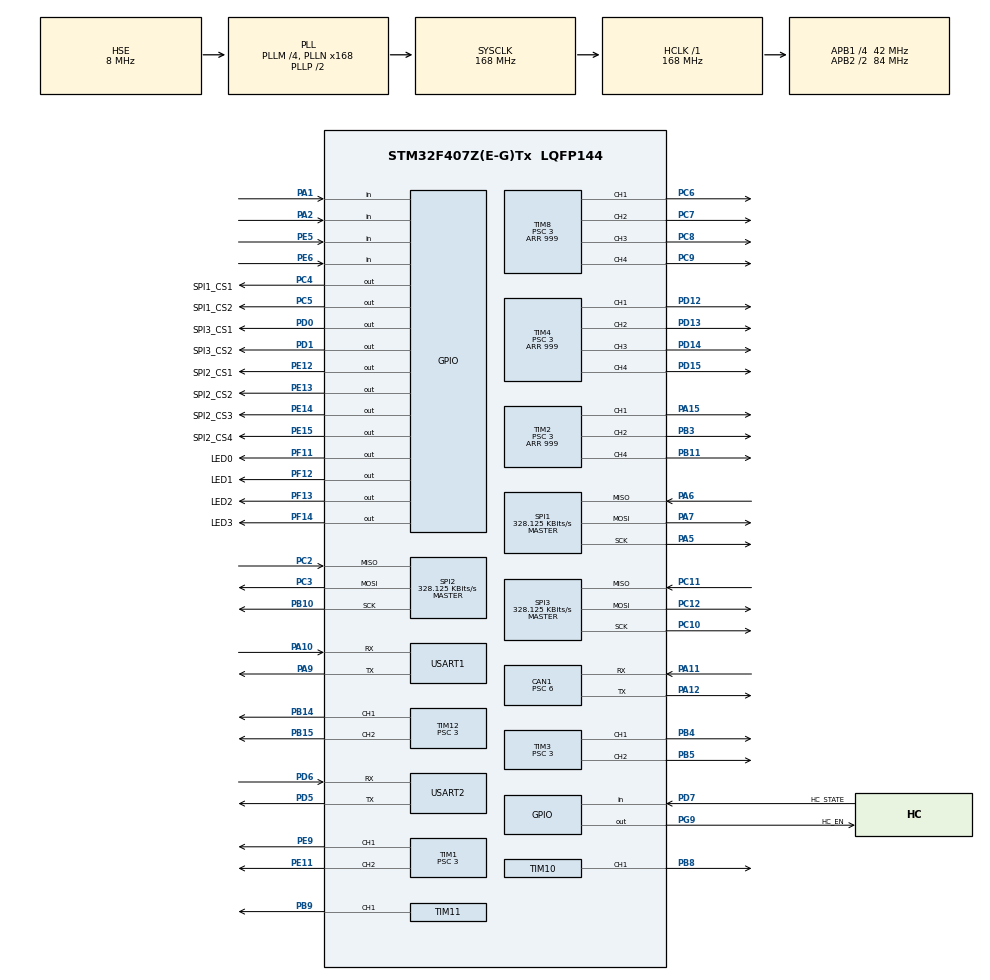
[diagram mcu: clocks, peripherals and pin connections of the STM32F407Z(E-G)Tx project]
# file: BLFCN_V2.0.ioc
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CAN1.BS1=CAN_BS1_5TQ
CAN1.BS2=CAN_BS2_1TQ
CAN1.CalculateBaudRate=1000000
CAN1.CalculateTimeBit=1000
CAN1.CalculateTimeQuantum=142.85714285714286
CAN1.Prescaler=6
Dma.Request0=USART1_RX
Dma.Request1=USART1_TX
Dma.Request2=USART2_RX
Dma.Request3=USART2_TX
Dma.USART1_RX.0.Direction=DMA_PERIPH_TO_MEMORY
Dma.USART1_RX.0.FIFOMode=DMA_FIFOMODE_DISABLE
Dma.USART1_RX.0.Instance=DMA2_Stream2
Dma.USART1_RX.0.MemDataAlignment=DMA_MDATAALIGN_BYTE
Dma.USART1_RX.0.MemInc=DMA_MINC_ENABLE
Dma.USART1_RX.0.Mode=DMA_NORMAL
Dma.USART1_RX.0.PeriphDataAlignment=DMA_PDATAALIGN_BYTE
Dma.USART1_RX.0.PeriphInc=DMA_PINC_DISABLE
Dma.USART1_RX.0.Priority=DMA_PRIORITY_LOW
Dma.USART1_TX.1.Direction=DMA_MEMORY_TO_PERIPH
Dma.USART1_TX.1.FIFOMode=DMA_FIFOMODE_DISABLE
Dma.USART1_TX.1.Instance=DMA2_Stream7
Dma.USART1_TX.1.MemDataAlignment=DMA_MDATAALIGN_BYTE
Dma.USART1_TX.1.MemInc=DMA_MINC_ENABLE
Dma.USART1_TX.1.Mode=DMA_NORMAL
Dma.USART1_TX.1.PeriphDataAlignment=DMA_PDATAALIGN_BYTE
Dma.USART1_TX.1.PeriphInc=DMA_PINC_DISABLE
Dma.USART1_TX.1.Priority=DMA_PRIORITY_LOW
Dma.USART2_RX.2.Direction=DMA_PERIPH_TO_MEMORY
Dma.USART2_RX.2.FIFOMode=DMA_FIFOMODE_DISABLE
Dma.USART2_RX.2.Instance=DMA1_Stream5
Dma.USART2_RX.2.MemDataAlignment=DMA_MDATAALIGN_BYTE
Dma.USART2_RX.2.MemInc=DMA_MINC_ENABLE
Dma.USART2_RX.2.Mode=DMA_CIRCULAR
Dma.USART2_RX.2.PeriphDataAlignment=DMA_PDATAALIGN_BYTE
Dma.USART2_RX.2.PeriphInc=DMA_PINC_DISABLE
Dma.USART2_RX.2.Priority=DMA_PRIORITY_LOW
Dma.USART2_TX.3.Direction=DMA_MEMORY_TO_PERIPH
Dma.USART2_TX.3.FIFOMode=DMA_FIFOMODE_DISABLE
Dma.USART2_TX.3.Instance=DMA1_Stream6
Dma.USART2_TX.3.MemDataAlignment=DMA_MDATAALIGN_BYTE
Dma.USART2_TX.3.MemInc=DMA_MINC_ENABLE
Dma.USART2_TX.3.Mode=DMA_CIRCULAR
Dma.USART2_TX.3.PeriphDataAlignment=DMA_PDATAALIGN_BYTE
Dma.USART2_TX.3.PeriphInc=DMA_PINC_DISABLE
Dma.USART2_TX.3.Priority=DMA_PRIORITY_LOW
FREERTOS.Tasks01=defaultTask,24,128,StartDefaultTask,Default,NULL,Dynamic,NULL,NULL;PID,8,1280,StartTask_pid,Default,NULL,Dynamic,NULL,NULL;read,8,1280,StartTask_read,Default,NULL,Dynamic,NULL,NULL;send,8,128,StartTask_send,Default,NULL,Dynamic,NULL,NULL
Mcu.Family=STM32F4
Mcu.Name=STM32F407Z(E-G)Tx
Mcu.Package=LQFP144
NVIC.CAN1_RX0_IRQn=true\:5\:0\:false\:false\:true\:true\:true\:true\:true
NVIC.CAN1_RX1_IRQn=true\:5\:0\:false\:false\:true\:true\:true\:true\:true
NVIC.CAN1_TX_IRQn=true\:5\:0\:false\:false\:true\:true\:true\:true\:true
NVIC.DMA1_Stream5_IRQn=true\:5\:0\:false\:false\:true\:true\:false\:true\:true
NVIC.DMA1_Stream6_IRQn=true\:5\:0\:false\:false\:true\:true\:false\:true\:true
NVIC.DMA2_Stream2_IRQn=true\:5\:0\:false\:false\:true\:true\:false\:true\:true
NVIC.DMA2_Stream7_IRQn=true\:5\:0\:false\:false\:true\:true\:false\:true\:true
NVIC.PriorityGroup=NVIC_PRIORITYGROUP_4
NVIC.TIM7_IRQn=true\:15\:0\:false\:false\:true\:false\:false\:true\:true
NVIC.TimeBase=TIM7_IRQn
NVIC.TimeBaseIP=TIM7
NVIC.USART1_IRQn=true\:5\:0\:true\:false\:true\:true\:true\:true\:true
NVIC.USART2_IRQn=true\:5\:0\:true\:false\:true\:true\:true\:true\:true
PA1.GPIO_PuPd=GPIO_PULLDOWN
PA1.Signal=GPIO_Input
PA10.Mode=Asynchronous
PA10.Signal=USART1_RX
PA11.Mode=CAN_Activate
PA11.Signal=CAN1_RX
PA12.Mode=CAN_Activate
PA12.Signal=CAN1_TX
PA13.Mode=Serial_Wire
PA13.Signal=SYS_JTMS-SWDIO
PA14.Mode=Serial_Wire
PA14.Signal=SYS_JTCK-SWCLK
PA15.Signal=S_TIM2_CH1_ETR
PA2.GPIO_PuPd=GPIO_PULLDOWN
PA2.Signal=GPIO_Input
PA5.Mode=Full_Duplex_Master
PA5.Signal=SPI1_SCK
PA6.Mode=Full_Duplex_Master
PA6.Signal=SPI1_MISO
PA7.Mode=Full_Duplex_Master
PA7.Signal=SPI1_MOSI
PA9.Mode=Asynchronous
PA9.Signal=USART1_TX
PB10.Mode=Full_Duplex_Master
PB10.Signal=SPI2_SCK
PB11.Signal=S_TIM2_CH4
PB14.Signal=S_TIM12_CH1
PB15.Signal=S_TIM12_CH2
PB3.Signal=S_TIM2_CH2
PB4.Signal=S_TIM3_CH1
PB5.Signal=S_TIM3_CH2
PB8.Signal=S_TIM10_CH1
PB9.Signal=S_TIM11_CH1
PC10.Mode=Full_Duplex_Master
PC10.Signal=SPI3_SCK
PC11.Mode=Full_Duplex_Master
PC11.Signal=SPI3_MISO
PC12.Mode=Full_Duplex_Master
PC12.Signal=SPI3_MOSI
PC2.Mode=Full_Duplex_Master
PC2.Signal=SPI2_MISO
PC3.Mode=Full_Duplex_Master
PC3.Signal=SPI2_MOSI
PC4.GPIO_Label=SPI1_CS1
PC4.Signal=GPIO_Output
PC5.GPIO_Label=SPI1_CS2
PC5.Signal=GPIO_Output
PC6.Signal=S_TIM8_CH1
PC7.Signal=S_TIM8_CH2
PC8.Signal=S_TIM8_CH3
PC9.Signal=S_TIM8_CH4
PD0.GPIO_Label=SPI3_CS1
PD0.Signal=GPIO_Output
PD1.GPIO_Label=SPI3_CS2
PD1.Signal=GPIO_Output
PD12.Signal=S_TIM4_CH1
PD13.Signal=S_TIM4_CH2
PD14.Signal=S_TIM4_CH3
PD15.Signal=S_TIM4_CH4
PD5.Mode=Asynchronous
PD5.Signal=USART2_TX
PD6.Mode=Asynchronous
PD6.Signal=USART2_RX
PD7.GPIO_Label=HC_STATE
PD7.Signal=GPIO_Input
PE11.Signal=S_TIM1_CH2
PE12.GPIO_Label=SPI2_CS1
PE12.Signal=GPIO_Output
PE13.GPIO_Label=SPI2_CS2
PE13.Signal=GPIO_Output
PE14.GPIO_Label=SPI2_CS3
PE14.Signal=GPIO_Output
PE15.GPIO_Label=SPI2_CS4
PE15.Signal=GPIO_Output
PE5.GPIO_PuPd=GPIO_PULLDOWN
PE5.Signal=GPIO_Input
PE6.GPIO_PuPd=GPIO_PULLDOWN
PE6.Signal=GPIO_Input
PE9.Signal=S_TIM1_CH1
PF11.GPIO_Label=LED0
PF11.Signal=GPIO_Output
PF12.GPIO_Label=LED1
PF12.Signal=GPIO_Output
PF13.GPIO_Label=LED2
PF13.Signal=GPIO_Output
PF14.GPIO_Label=LED3
PF14.Signal=GPIO_Output
PG9.GPIO_Label=HC_EN
PG9.Signal=GPIO_Output
PH0-OSC_IN.Mode=HSE-External-Oscillator
PH0-OSC_IN.Signal=RCC_OSC_IN
PH1-OSC_OUT.Mode=HSE-External-Oscillator
PH1-OSC_OUT.Signal=RCC_OSC_OUT
ProjectManager.HeapSize=0x400
ProjectManager.StackSize=0x1000
ProjectManager.TargetToolchain=MDK-ARM V5
RCC.48MHZClocksFreq_Value=84000000
RCC.AHBFreq_Value=168000000
RCC.APB1CLKDivider=RCC_HCLK_DIV4
RCC.APB1Freq_Value=42000000
RCC.APB1TimFreq_Value=84000000
RCC.APB2CLKDivider=RCC_HCLK_DIV2
RCC.APB2Freq_Value=84000000
RCC.APB2TimFreq_Value=168000000
RCC.CortexFreq_Value=168000000
RCC.HCLKFreq_Value=168000000
RCC.HSE_VALUE=8000000
RCC.HSI_VALUE=16000000
RCC.LSE_VALUE=32768
RCC.PLLM=4
RCC.PLLN=168
RCC.PLLSourceVirtual=RCC_PLLSOURCE_HSE
RCC.SYSCLKFreq_VALUE=168000000
RCC.SYSCLKSource=RCC_SYSCLKSOURCE_PLLCLK
RCC.VCOOutputFreq_Value=336000000
SH.S_TIM10_CH1.0=TIM10_CH1,PWM Generation1 CH1
SH.S_TIM11_CH1.0=TIM11_CH1,PWM Generation1 CH1
SH.S_TIM12_CH1.0=TIM12_CH1,PWM Generation1 CH1
SH.S_TIM12_CH2.0=TIM12_CH2,PWM Generation2 CH2
SH.S_TIM1_CH1.0=TIM1_CH1,PWM Generation1 CH1
SH.S_TIM1_CH2.0=TIM1_CH2,PWM Generation2 CH2
SH.S_TIM2_CH1_ETR.0=TIM2_CH1,PWM Generation1 CH1
SH.S_TIM2_CH2.0=TIM2_CH2,PWM Generation2 CH2
SH.S_TIM2_CH4.0=TIM2_CH4,PWM Generation4 CH4
SH.S_TIM3_CH1.0=TIM3_CH1,PWM Generation1 CH1
SH.S_TIM3_CH2.0=TIM3_CH2,PWM Generation2 CH2
SH.S_TIM4_CH1.0=TIM4_CH1,PWM Generation1 CH1
SH.S_TIM4_CH2.0=TIM4_CH2,PWM Generation2 CH2
SH.S_TIM4_CH3.0=TIM4_CH3,PWM Generation3 CH3
SH.S_TIM4_CH4.0=TIM4_CH4,PWM Generation4 CH4
SH.S_TIM8_CH1.0=TIM8_CH1,PWM Generation1 CH1
SH.S_TIM8_CH2.0=TIM8_CH2,PWM Generation2 CH2
SH.S_TIM8_CH3.0=TIM8_CH3,PWM Generation3 CH3
SH.S_TIM8_CH4.0=TIM8_CH4,PWM Generation4 CH4
SPI1.BaudRatePrescaler=SPI_BAUDRATEPRESCALER_256
SPI1.CLKPhase=SPI_PHASE_2EDGE
SPI1.CalculateBaudRate=328.125 KBits/s
SPI1.DataSize=SPI_DATASIZE_16BIT
SPI1.Direction=SPI_DIRECTION_2LINES
SPI1.Mode=SPI_MODE_MASTER
SPI1.VirtualType=VM_MASTER
SPI2.BaudRatePrescaler=SPI_BAUDRATEPRESCALER_128
SPI2.CLKPhase=SPI_PHASE_2EDGE
SPI2.CalculateBaudRate=328.125 KBits/s
SPI2.DataSize=SPI_DATASIZE_16BIT
SPI2.Direction=SPI_DIRECTION_2LINES
SPI2.Mode=SPI_MODE_MASTER
SPI2.VirtualType=VM_MASTER
SPI3.BaudRatePrescaler=SPI_BAUDRATEPRESCALER_128
SPI3.CLKPhase=SPI_PHASE_2EDGE
SPI3.CalculateBaudRate=328.125 KBits/s
SPI3.DataSize=SPI_DATASIZE_16BIT
SPI3.Direction=SPI_DIRECTION_2LINES
SPI3.Mode=SPI_MODE_MASTER
SPI3.VirtualType=VM_MASTER
TIM1.Channel-PWM\ Generation1\ CH1=TIM_CHANNEL_1
TIM1.Channel-PWM\ Generation2\ CH2=TIM_CHANNEL_2
TIM1.Period=999
TIM1.Prescaler=3
TIM10.Channel=TIM_CHANNEL_1
TIM10.Period=999
TIM10.Prescaler=3
TIM11.Channel=TIM_CHANNEL_1
TIM11.Period=999
TIM11.Prescaler=3
TIM12.Channel-PWM\ Generation1\ CH1=TIM_CHANNEL_1
TIM12.Channel-PWM\ Generation2\ CH2=TIM_CHANNEL_2
TIM12.Period=999
TIM12.Prescaler=3
TIM2.Channel-PWM\ Generation1\ CH1=TIM_CHANNEL_1
TIM2.Channel-PWM\ Generation2\ CH2=TIM_CHANNEL_2
TIM2.Channel-PWM\ Generation3\ CH3=TIM_CHANNEL_3
TIM2.Channel-PWM\ Generation4\ CH4=TIM_CHANNEL_4
TIM2.Period=999
TIM2.Prescaler=3
TIM3.Channel-PWM\ Generation1\ CH1=TIM_CHANNEL_1
TIM3.Channel-PWM\ Generation2\ CH2=TIM_CHANNEL_2
TIM3.Period=999
TIM3.Prescaler=3
TIM4.Channel-PWM\ Generation1\ CH1=TIM_CHANNEL_1
TIM4.Channel-PWM\ Generation2\ CH2=TIM_CHANNEL_2
TIM4.Channel-PWM\ Generation3\ CH3=TIM_CHANNEL_3
TIM4.Channel-PWM\ Generation4\ CH4=TIM_CHANNEL_4
TIM4.Period=999
TIM4.Prescaler=3
TIM8.Channel-PWM\ Generation1\ CH1=TIM_CHANNEL_1
TIM8.Channel-PWM\ Generation2\ CH2=TIM_CHANNEL_2
TIM8.Channel-PWM\ Generation3\ CH3=TIM_CHANNEL_3
TIM8.Channel-PWM\ Generation4\ CH4=TIM_CHANNEL_4
TIM8.Period=999
TIM8.Prescaler=3
TIM9.Period=999
TIM9.Prescaler=3
USART1.VirtualMode=VM_ASYNC
USART2.VirtualMode=VM_ASYNC
VP_FREERTOS_VS_CMSIS_V2.Mode=CMSIS_V2
VP_SYS_VS_tim7.Mode=TIM7
VP_TIM10_VS_ClockSourceINT.Mode=Enable_Timer
VP_TIM11_VS_ClockSourceINT.Mode=Enable_Timer
VP_TIM12_VS_ClockSourceINT.Mode=Internal
VP_TIM1_VS_ClockSourceINT.Mode=Internal
VP_TIM2_VS_ClockSourceINT.Mode=Internal
VP_TIM3_VS_ClockSourceINT.Mode=Internal
VP_TIM4_VS_ClockSourceINT.Mode=Internal
VP_TIM8_VS_ClockSourceINT.Mode=Internal
VP_TIM9_VS_ClockSourceINT.Mode=Internal
board=custom

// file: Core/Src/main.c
/* USER CODE BEGIN Header */
/**
  ******************************************************************************
  * @file           : main.c
  * @brief          : Main program body
  ******************************************************************************
  * @attention
  *
  * <h2><center>&copy; Copyright (c) 2023 STMicroelectronics.
  * All rights reserved.</center></h2>
  *
  * This software component is licensed by ST under BSD 3-Clause license,
  * the "License"; You may not use this file except in compliance with the
  * License. You may obtain a copy of the License at:
  *                        opensource.org/licenses/BSD-3-Clause
  *
  ******************************************************************************
  */
/* USER CODE END Header */
#include "main.h"
#include "cmsis_os.h"
#include "can.h"
#include "dma.h"
#include "spi.h"
#include "tim.h"
#include "usart.h"
#include "gpio.h"

/* USER CODE BEGIN Includes */
#include "protocol.h"
#include "spi.h"
#include "hjcMotionControlLib.h"
/* USER CODE END Includes */

/* USER CODE BEGIN PV */
uint16_t pressure[48];
/* USER CODE END PV */

void SystemClock_Config(void);
void MX_FREERTOS_Init(void);
/* USER CODE BEGIN PFP */
#include "stm32f4xx_it.h"
#include "stdio.h"
/* USER CODE END PFP */

/* USER CODE BEGIN 0 */
#define UART_BUF_LENTH 8
#define PI 3.141592f
//uint8_t UART_RCV_DATA;
static uint8_t rcvstate = 0x00;
static uint32_t tempdata = 0;

int fputc(int ch, FILE *f)
{
    uint8_t temp[1]={ch};
    HAL_UART_Transmit(&huart1, temp, 1, HAL_MAX_DELAY);
    return ch;
}
extern ctrl_channel ctrl_group[24];
/* USER CODE END 0 */

int main(void)
{

  /* MCU Configuration--------------------------------------------------------*/

  /* Reset of all peripherals, Initializes the Flash interface and the Systick. */
  HAL_Init();

  /* Configure the system clock */
  SystemClock_Config();

  /* Initialize all configured peripherals */
  MX_GPIO_Init();
  MX_DMA_Init();
  MX_CAN1_Init();
  MX_TIM1_Init();
  MX_TIM2_Init();
  MX_TIM3_Init();
  MX_TIM4_Init();
  MX_TIM8_Init();
  MX_TIM9_Init();
  MX_TIM10_Init();
  MX_TIM11_Init();
  MX_TIM12_Init();
  MX_USART1_UART_Init();
  MX_USART2_UART_Init();
  MX_SPI3_Init();
  MX_SPI2_Init();
  MX_SPI1_Init();
  /* USER CODE BEGIN 2 */
	//PWM输出启动
	HAL_TIM_Base_Start(&htim1);
	HAL_TIM_PWM_Start(&htim1, TIM_CHANNEL_1);	//CN7
	HAL_TIM_PWM_Start(&htim1, TIM_CHANNEL_2);	//CN8
	HAL_TIM_PWM_Start(&htim1, TIM_CHANNEL_3);	//CN6
	HAL_TIM_PWM_Start(&htim1, TIM_CHANNEL_4);	//CN5
	HAL_TIM_Base_Start(&htim2);
	HAL_TIM_PWM_Start(&htim2, TIM_CHANNEL_1);	//CN16
	HAL_TIM_PWM_Start(&htim2, TIM_CHANNEL_2);	//CN15
	HAL_TIM_PWM_Start(&htim2, TIM_CHANNEL_3);	//CN9
	HAL_TIM_PWM_Start(&htim2, TIM_CHANNEL_4);	//CN10
	HAL_TIM_Base_Start(&htim3);
	HAL_TIM_PWM_Start(&htim3, TIM_CHANNEL_1);	//CN14
	HAL_TIM_PWM_Start(&htim3, TIM_CHANNEL_2);	//CN13
	HAL_TIM_Base_Start(&htim4);
	HAL_TIM_PWM_Start(&htim4, TIM_CHANNEL_1);	//CN24
	HAL_TIM_PWM_Start(&htim4, TIM_CHANNEL_2);	//CN23
	HAL_TIM_PWM_Start(&htim4, TIM_CHANNEL_3);	//CN22
	HAL_TIM_PWM_Start(&htim4, TIM_CHANNEL_4);	//CN21
	HAL_TIM_Base_Start(&htim8);
	HAL_TIM_PWM_Start(&htim8, TIM_CHANNEL_1);	//CN20
	HAL_TIM_PWM_Start(&htim8, TIM_CHANNEL_2);	//CN19
	HAL_TIM_PWM_Start(&htim8, TIM_CHANNEL_3);	//CN18
	HAL_TIM_PWM_Start(&htim8, TIM_CHANNEL_4);	//CN17
	HAL_TIM_Base_Start(&htim9);
	HAL_TIM_PWM_Start(&htim9, TIM_CHANNEL_1);	//CN3
	HAL_TIM_PWM_Start(&htim9, TIM_CHANNEL_2);	//CN4
	HAL_TIM_Base_Start(&htim10);
	HAL_TIM_PWM_Start(&htim10, TIM_CHANNEL_1);	//CN1
	HAL_TIM_Base_Start(&htim11);
	HAL_TIM_PWM_Start(&htim11, TIM_CHANNEL_1);	//CN2
	HAL_TIM_Base_Start(&htim12);
	HAL_TIM_PWM_Start(&htim12, TIM_CHANNEL_1);	//CN11
	HAL_TIM_PWM_Start(&htim12, TIM_CHANNEL_2);	//CN12
	HAL_UART_Receive_IT(&huart1, (uint8_t *)&aRxBuffer, 1); //中断串口接收函数
	HAL_UART_Receive_IT(&huart2, (uint8_t *)&aRxBuffer, 1); //中断串口接收函数
	HAL_GPIO_WritePin(LED0_GPIO_Port,LED0_Pin,GPIO_PIN_SET);
	HAL_GPIO_WritePin(LED1_GPIO_Port,LED1_Pin,GPIO_PIN_SET);
	printf("hardware INIT DONE!\r\n");
	Angle_Reset();
	printf("Angle_Reset() DONE!\r\n");
//结束
  /* USER CODE END 2 */

  /* Init scheduler */
  osKernelInitialize();

  /* Call init function for freertos objects (in freertos.c) */
  MX_FREERTOS_Init();

  /* Start scheduler */
  osKernelStart();

  /* We should never get here as control is now taken by the scheduler */
  /* Infinite loop */
  while (1)
  {

    /* USER CODE BEGIN 3 */
    //1
  }
  /* USER CODE END 3 */
}

void SystemClock_Config(void)
{
  RCC_OscInitTypeDef RCC_OscInitStruct = {0};
  RCC_ClkInitTypeDef RCC_ClkInitStruct = {0};

  /** Configure the main internal regulator output voltage
  */
  __HAL_RCC_PWR_CLK_ENABLE();
  __HAL_PWR_VOLTAGESCALING_CONFIG(PWR_REGULATOR_VOLTAGE_SCALE1);

  /** Initializes the RCC Oscillators according to the specified parameters
  * in the RCC_OscInitTypeDef structure.
  */
  RCC_OscInitStruct.OscillatorType = RCC_OSCILLATORTYPE_HSE;
  RCC_OscInitStruct.HSEState = RCC_HSE_ON;
  RCC_OscInitStruct.PLL.PLLState = RCC_PLL_ON;
  RCC_OscInitStruct.PLL.PLLSource = RCC_PLLSOURCE_HSE;
  RCC_OscInitStruct.PLL.PLLM = 4;
  RCC_OscInitStruct.PLL.PLLN = 168;
  RCC_OscInitStruct.PLL.PLLP = RCC_PLLP_DIV2;
  RCC_OscInitStruct.PLL.PLLQ = 4;
  if (HAL_RCC_OscConfig(&RCC_OscInitStruct) != HAL_OK)
  {
    Error_Handler();
  }

  /** Initializes the CPU, AHB and APB buses clocks
  */
  RCC_ClkInitStruct.ClockType = RCC_CLOCKTYPE_HCLK|RCC_CLOCKTYPE_SYSCLK
                              |RCC_CLOCKTYPE_PCLK1|RCC_CLOCKTYPE_PCLK2;
  RCC_ClkInitStruct.SYSCLKSource = RCC_SYSCLKSOURCE_PLLCLK;
  RCC_ClkInitStruct.AHBCLKDivider = RCC_SYSCLK_DIV1;
  RCC_ClkInitStruct.APB1CLKDivider = RCC_HCLK_DIV4;
  RCC_ClkInitStruct.APB2CLKDivider = RCC_HCLK_DIV2;

  if (HAL_RCC_ClockConfig(&RCC_ClkInitStruct, FLASH_LATENCY_5) != HAL_OK)
  {
    Error_Handler();
  }
}

/* USER CODE BEGIN 4 */
//

/* USER CODE END 4 */

void HAL_TIM_PeriodElapsedCallback(TIM_HandleTypeDef *htim)
{
  if (htim->Instance == TIM7) {
    HAL_IncTick();
  }
}

void Error_Handler(void)
{
  __disable_irq();
  while (1)
  {
  }
}

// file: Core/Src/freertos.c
/* USER CODE BEGIN Header */
/**
  ******************************************************************************
  * File Name          : freertos.c
  * Description        : Code for freertos applications
  ******************************************************************************
  * @attention
  *
  * <h2><center>&copy; Copyright (c) 2023 STMicroelectronics.
  * All rights reserved.</center></h2>
  *
  * This software component is licensed by ST under Ultimate Liberty license
  * SLA0044, the "License"; You may not use this file except in compliance with
  * the License. You may obtain a copy of the License at:
  *                             www.st.com/SLA0044
  *
  ******************************************************************************
  */
/* USER CODE END Header */

#include "FreeRTOS.h"
#include "task.h"
#include "main.h"
#include "cmsis_os.h"

/* USER CODE BEGIN Includes */
#include "hjcMotionControlLib.h"
#include "myPID.h"
#include "protocol.h"
#include "gpio.h"
#include "spi.h"
extern uint8_t pidstart;
extern int16_t angle[2][4][5];
extern short angle_ReadIndex;
//关节指令
extern short GLOBAL_ANGLE_FLAG;
extern int16_t GLOBAL_ANGLE[2][3][4];
extern short GLOBAL_ANGLE_ReadIndex;
//开环气压指令
extern short GLOBAL_PRESSURE_FLAG;
extern int16_t GLOBAL_PRESSURE[2][5][4];
extern short GLOBAL_PRESSURE_ReadIndex;
//
extern int8_t GLOBAL_DEEP_MOTOR_FLAG;
extern uint16_t GLOBAL_DEEP_MOTOR[6];
extern int8_t GLOBAL_DEEP_MOTOR_ReadIndex;
extern int8_t GLOBAL_DEEP_MOTOR_ON_FLAG;
extern int8_t GLOBAL_DEEP_MOTOR_OFF_FLAG;
extern int8_t GLOBAL_BRMXZ_ACTION_1_FLAG;
//
extern uint8_t pressurech;
extern uint16_t pressurevalue;
/* USER CODE END Includes */

/* Definitions for defaultTask */
osThreadId_t defaultTaskHandle;
const osThreadAttr_t defaultTask_attributes = {
  .name = "defaultTask",
  .stack_size = 128 * 4,
  .priority = (osPriority_t) osPriorityNormal,
};
/* Definitions for PID */
osThreadId_t PIDHandle;
const osThreadAttr_t PID_attributes = {
  .name = "PID",
  .stack_size = 1280 * 4,
  .priority = (osPriority_t) osPriorityLow,
};
/* Definitions for read */
osThreadId_t readHandle;
const osThreadAttr_t read_attributes = {
  .name = "read",
  .stack_size = 1280 * 4,
  .priority = (osPriority_t) osPriorityLow,
};
/* Definitions for send */
osThreadId_t sendHandle;
const osThreadAttr_t send_attributes = {
  .name = "send",
  .stack_size = 128 * 4,
  .priority = (osPriority_t) osPriorityLow,
};

void StartDefaultTask(void *argument);
void StartTask_pid(void *argument);
void StartTask_read(void *argument);
void StartTask_send(void *argument);

void MX_FREERTOS_Init(void); /* (MISRA C 2004 rule 8.1) */

void MX_FREERTOS_Init(void) {

  /* Create the thread(s) */
  /* creation of defaultTask */
  defaultTaskHandle = osThreadNew(StartDefaultTask, NULL, &defaultTask_attributes);

  /* creation of PID */
  PIDHandle = osThreadNew(StartTask_pid, NULL, &PID_attributes);

  /* creation of read */
  readHandle = osThreadNew(StartTask_read, NULL, &read_attributes);

  /* creation of send */
  sendHandle = osThreadNew(StartTask_send, NULL, &send_attributes);

}

void StartDefaultTask(void *argument)
{
  /* USER CODE BEGIN StartDefaultTask */
  /* Infinite loop */
  for(;;)
  {
	//printf("001");
	//receiving_process();
    HAL_GPIO_TogglePin(LED0_GPIO_Port, LED0_Pin);
    osDelay(500);

  }
  /* USER CODE END StartDefaultTask */
}

void StartTask_pid(void *argument)
{
  /* USER CODE BEGIN StartTask_pid */
  /* Infinite loop */
  for(;;)
	{
		//read_4_button();
    //关节指令
		if(GLOBAL_ANGLE_FLAG == 1)
			{
			MOVJ_v1_0(GLOBAL_ANGLE, GLOBAL_ANGLE_ReadIndex);
			GLOBAL_ANGLE_FLAG = 0;
			}
    //气压指令
		if(GLOBAL_PRESSURE_FLAG == 1)
			{
			MOVP_v1_0(GLOBAL_PRESSURE, GLOBAL_PRESSURE_ReadIndex);
			GLOBAL_PRESSURE_FLAG = 0;
			}
		if(GLOBAL_PRESSURE_FLAG == 2)
			{
			MOVP_v1_0_right_arm(GLOBAL_PRESSURE, GLOBAL_PRESSURE_ReadIndex);
			GLOBAL_PRESSURE_FLAG = 0;
			}
	//电机指令
		if(GLOBAL_DEEP_MOTOR_FLAG == 1)
			{
				DEEP_MOTOR_TEST_v1_0(GLOBAL_DEEP_MOTOR , GLOBAL_DEEP_MOTOR_ReadIndex , 1);
				GLOBAL_DEEP_MOTOR_FLAG = 0;
			}
		if(GLOBAL_DEEP_MOTOR_FLAG == 2)
			{
				DEEP_MOTOR_TEST_v1_0(GLOBAL_DEEP_MOTOR , GLOBAL_DEEP_MOTOR_ReadIndex , 2);
				GLOBAL_DEEP_MOTOR_FLAG = 0;
			}
		if(GLOBAL_DEEP_MOTOR_FLAG == 3)
			{
				DEEP_MOTOR_TEST_v1_0(GLOBAL_DEEP_MOTOR , GLOBAL_DEEP_MOTOR_ReadIndex , 3);
				GLOBAL_DEEP_MOTOR_FLAG = 0;
			}
		if(GLOBAL_DEEP_MOTOR_FLAG == 4)
			{
				DEEP_MOTOR_TEST_v1_0(GLOBAL_DEEP_MOTOR , GLOBAL_DEEP_MOTOR_ReadIndex , 4);
				GLOBAL_DEEP_MOTOR_FLAG = 0;
			}
	//电机开关
		if(GLOBAL_DEEP_MOTOR_ON_FLAG == 1){
		  for(short i=1;i<=4;i++)
			{
			turn_off_DEEP_Motor(i);
			osDelay(1);
			}
		  GLOBAL_DEEP_MOTOR_ON_FLAG =0;
		  printf("ENABLE DEEP_MOTOR\r\n");
		  printf("-------------------------\r\n");
		  }
		  //
		if(GLOBAL_DEEP_MOTOR_OFF_FLAG == 1){
		  for(short i=1;i<=4;i++)
			{
			turn_off_DEEP_Motor(i);
			osDelay(1);
			}
		  GLOBAL_DEEP_MOTOR_OFF_FLAG =0;
		  printf("DISABLE DEEP_MOTOR\r\n");
		  printf("-------------------------\r\n");
		  }
	if(GLOBAL_BRMXZ_ACTION_1_FLAG == 1){
      //turn_off_DEEP_Motor(1);
      GLOBAL_BRMXZ_ACTION_1_FLAG =0;
      printf("MOVE ACTION 1 \r\n");
	  printf("-------------------------\r\n");
      }

	osDelay(300);
	}
  /* USER CODE END StartTask_pid */
}

void StartTask_read(void *argument)
{
  /* USER CODE BEGIN StartTask_read */
  /* Infinite loop */
  for(;;)
  {
    //Read_B();
    osDelay(10);
	//printf(" Task3 readBing ");
  }
  /* USER CODE END StartTask_read */
}

void StartTask_send(void *argument)
{
  /* USER CODE BEGIN StartTask_send */
  /* Infinite loop */
  for(;;)
  {
		osDelay(800);
		//printf("Task4 sending");
  }
  /* USER CODE END StartTask_send */
}
